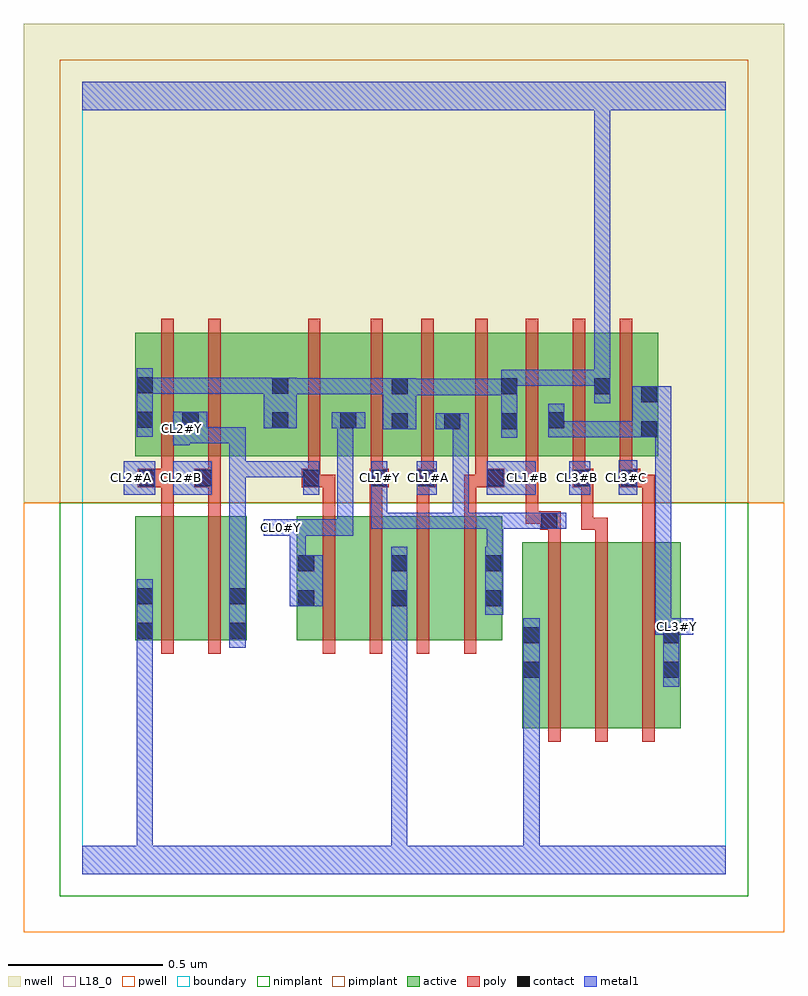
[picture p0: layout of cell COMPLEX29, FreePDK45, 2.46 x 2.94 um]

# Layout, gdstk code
import gdstk
lib = gdstk.Library(unit=1e-6, precision=1e-09)
def R(c, l, rs):  # rectangles x0, y0, x1, y1
    for r in rs: c.add(gdstk.rectangle(r[:2], r[2:], *l))
def A(c, l, x, y, w, h, nx, ny, dx, dy):  # array of equal rectangles
    R(c, l, [(x+i*dx, y+j*dy, x+i*dx+w, y+j*dy+h) for i in range(nx) for j in range(ny)])
active = (1, 0)
pwell = (2, 0)
nwell = (3, 0)
nimplant = (4, 0)
pimplant = (5, 0)
poly = (9, 0)
contact = (10, 0)
metal1 = (11, 0)
L18_0 = (18, 0)
boundary = (235, 0)

complex29 = lib.new_cell('COMPLEX29')
R(complex29, active, [(1.422,0.472,1.602,1.072), (1.602,0.472,1.754,1.072), (1.754,0.472,1.934,1.072), (1.874,0.472,1.934,1.072), (1.422,0.556,1.482,1.072), (0.172,0.756,0.232,1.156), (0.172,0.756,0.352,1.156), (0.352,0.756,0.532,1.156), (0.472,0.756,0.532,1.156), (0.694,0.756,0.754,1.156), (0.694,0.756,0.874,1.156), (0.874,0.756,1.054,1.156), (0.994,0.756,1.054,1.156), (0.994,0.756,1.178,1.156), (1.178,0.756,1.358,1.156), (1.298,0.756,1.358,1.156), (0.172,1.35,0.232,1.644), (0.172,1.35,0.38,1.75), (0.32,1.35,0.38,1.644), (0.32,1.35,0.67,1.75), (0.61,1.35,0.67,1.644), (0.61,1.35,0.89,1.75), (0.83,1.35,0.89,1.644), (0.83,1.35,1.056,1.75), (0.996,1.35,1.056,1.644), (0.996,1.35,1.226,1.75), (1.166,1.35,1.226,1.644), (1.166,1.35,1.41,1.75), (1.35,1.35,1.41,1.644), (1.35,1.35,1.562,1.75), (1.502,1.35,1.562,1.644), (1.502,1.35,1.71,1.75), (1.65,1.35,1.71,1.644), (1.65,1.35,1.862,1.75), (1.802,1.35,1.862,1.644)])
R(complex29, pwell, [(-0.188,-0.188,2.268,1.2)])
R(complex29, nwell, [(-0.188,1.2,2.268,2.748)])
R(complex29, nimplant, [(-0.072,-0.072,2.152,1.2)])
R(complex29, pimplant, [(-0.072,1.2,2.152,2.632)])
A(complex29, poly, 1.506, 0.428, 0.04, 0.688, 3, 1, 0.152, 0)
A(complex29, poly, 0.778, 0.712, 0.04, 0.488, 4, 1, 0.152, 0)
A(complex29, poly, 0.778, 1.16, 0.04, 0.13, 4, 1, 0.152, 0)
A(complex29, poly, 1.434, 1.306, 0.04, 0.488, 3, 1, 0.152, 0)
R(complex29, poly, [(0.256,0.712,0.296,1.2), (0.408,0.712,0.448,1.2), (1.506,1.076,1.546,1.152), (1.658,1.076,1.698,1.152), (1.81,1.076,1.85,1.29), (1.48,1.112,1.546,1.172), (1.612,1.112,1.698,1.152), (1.612,1.112,1.652,1.29), (1.434,1.132,1.474,1.346), (1.434,1.132,1.52,1.172), (1.48,1.132,1.52,1.172), (0.256,1.16,0.296,1.29), (0.408,1.16,0.448,1.29), (0.18,1.25,0.296,1.31), (0.362,1.25,0.448,1.31), (0.71,1.25,0.77,1.31), (0.73,1.25,0.77,1.29), (0.73,1.25,0.818,1.29), (0.93,1.25,0.99,1.31), (1.082,1.25,1.122,1.29), (1.082,1.25,1.122,1.29), (1.082,1.25,1.142,1.31), (1.234,1.25,1.31,1.29), (1.27,1.25,1.31,1.29), (1.27,1.25,1.364,1.31), (1.586,1.25,1.652,1.31), (1.738,1.25,1.804,1.31), (1.764,1.25,1.804,1.29), (1.764,1.25,1.85,1.29), (0.256,1.27,0.296,1.346), (0.256,1.27,0.296,1.31), (0.256,1.27,0.296,1.31), (0.408,1.27,0.448,1.346), (0.408,1.27,0.448,1.31), (0.408,1.27,0.448,1.31), (0.73,1.27,0.77,1.346), (0.932,1.27,0.972,1.346), (0.932,1.27,0.972,1.31), (0.932,1.27,0.972,1.31), (1.096,1.27,1.136,1.346), (1.27,1.27,1.31,1.346), (1.586,1.27,1.626,1.346), (1.738,1.27,1.778,1.346), (0.256,1.306,0.296,1.794), (0.408,1.306,0.448,1.794), (0.73,1.306,0.77,1.794), (0.932,1.306,0.972,1.794), (1.096,1.306,1.136,1.794), (1.27,1.306,1.31,1.794)])
R(complex29, contact, [(1.426,0.634,1.478,0.686), (1.878,0.634,1.93,0.686), (1.426,0.746,1.478,0.798), (1.878,0.746,1.93,0.798), (0.176,0.76,0.228,0.812), (0.476,0.76,0.528,0.812), (0.698,0.866,0.75,0.918), (0.998,0.866,1.05,0.918), (1.302,0.866,1.354,0.918), (0.176,0.872,0.228,0.924), (0.476,0.872,0.528,0.924), (0.698,0.978,0.75,1.03), (0.998,0.978,1.05,1.03), (1.302,0.978,1.354,1.03), (1.484,1.116,1.536,1.168), (0.184,1.254,0.236,1.306), (0.366,1.254,0.418,1.306), (0.714,1.254,0.766,1.306), (0.934,1.254,0.986,1.306), (1.086,1.254,1.138,1.306), (1.308,1.254,1.36,1.306), (1.59,1.254,1.642,1.306), (1.742,1.254,1.794,1.306), (1.806,1.412,1.858,1.464), (1,1.438,1.052,1.49), (1.17,1.438,1.222,1.49), (1.354,1.438,1.406,1.49), (0.614,1.44,0.666,1.492), (0.834,1.44,0.886,1.492), (1.506,1.44,1.558,1.492), (0.176,1.442,0.228,1.494), (0.324,1.442,0.376,1.494), (1.806,1.524,1.858,1.576), (1,1.55,1.052,1.602), (1.354,1.55,1.406,1.602), (1.654,1.55,1.706,1.602), (0.614,1.552,0.666,1.604), (0.176,1.554,0.228,1.606)])
R(complex29, metal1, [(0,0,2.08,0.092), (0.176,0.04,0.228,0.092), (0.176,0.04,0.228,0.092), (0.176,0.04,0.228,0.092), (0.176,0.04,0.228,0.092), (0.176,0.04,0.228,0.092), (0.176,0.04,0.228,0.092), (0.176,0.04,0.228,0.092), (0.176,0.04,0.228,0.092), (0.176,0.04,0.228,0.092), (0.176,0.04,0.228,0.092), (0.176,0.04,0.228,0.092), (0.176,0.04,0.228,0.092), (0.176,0.04,0.228,0.784), (0.998,0.04,1.05,0.092), (0.998,0.04,1.05,0.092), (0.998,0.04,1.05,0.092), (0.998,0.04,1.05,0.092), (0.998,0.04,1.05,0.89), (1.426,0.04,1.478,0.092), (1.426,0.04,1.478,0.092), (1.426,0.04,1.478,0.092), (1.426,0.04,1.478,0.092), (1.426,0.04,1.478,0.658), (1.426,0.606,1.478,0.658), (1.426,0.606,1.478,0.658), (1.426,0.606,1.478,0.658), (1.426,0.606,1.478,0.658), (1.426,0.606,1.478,0.826), (1.878,0.606,1.93,0.826), (0.176,0.732,0.228,0.952), (0.476,0.732,0.528,0.952), (1.852,0.774,1.904,1.464), (1.852,0.774,1.918,0.826), (1.866,0.774,1.918,0.826), (1.866,0.774,1.974,0.826), (1.878,0.774,1.93,0.826), (0.998,0.838,1.05,0.89), (0.998,0.838,1.05,0.89), (0.998,0.838,1.05,0.89), (0.998,0.838,1.05,0.89), (0.998,0.838,1.05,0.89), (0.998,0.838,1.05,0.89), (0.998,0.838,1.05,0.89), (0.998,0.838,1.05,0.89), (0.998,0.838,1.05,1.058), (1.302,0.838,1.36,1.058), (0.67,0.866,0.778,1.03), (0.476,0.9,0.528,0.952), (0.476,0.9,0.528,0.952), (0.476,0.9,0.528,1.334), (0.67,0.978,0.722,1.146), (1.308,1.006,1.36,1.168), (0.586,1.094,0.722,1.146), (0.67,1.094,0.722,1.146), (0.67,1.094,0.722,1.146), (0.67,1.094,0.876,1.146), (0.824,1.094,0.876,1.146), (0.824,1.094,0.876,1.146), (0.824,1.094,0.876,1.146), (0.824,1.094,0.876,1.492), (0.934,1.116,0.986,1.278), (0.934,1.116,1.186,1.168), (1.134,1.116,1.186,1.168), (1.134,1.116,1.25,1.168), (1.198,1.116,1.25,1.168), (1.198,1.116,1.25,1.168), (1.198,1.116,1.25,1.168), (1.198,1.116,1.296,1.168), (1.198,1.116,1.25,1.49), (1.244,1.116,1.296,1.168), (1.244,1.116,1.36,1.168), (1.308,1.116,1.36,1.168), (1.308,1.116,1.406,1.168), (1.354,1.116,1.406,1.168), (1.354,1.116,1.508,1.168), (1.456,1.116,1.564,1.168), (0.134,1.226,0.236,1.334), (0.294,1.226,0.418,1.334), (0.714,1.226,0.766,1.334), (0.934,1.226,0.986,1.278), (0.934,1.226,0.986,1.334), (1.082,1.226,1.146,1.334), (1.308,1.226,1.466,1.334), (1.574,1.226,1.642,1.334), (1.734,1.226,1.794,1.338), (0.476,1.282,0.638,1.334), (0.476,1.282,0.528,1.444), (0.586,1.282,0.638,1.334), (0.586,1.282,0.766,1.334), (0.294,1.386,0.348,1.494), (0.296,1.392,0.528,1.444), (0.476,1.392,0.528,1.444), (0.476,1.392,0.528,1.444), (1.354,1.41,1.406,1.63), (1.506,1.412,1.558,1.52), (1.506,1.412,1.58,1.464), (1.528,1.412,1.58,1.464), (1.528,1.412,1.72,1.464), (1.668,1.412,1.72,1.464), (1.668,1.412,1.83,1.464), (1.778,1.412,1.83,1.464), (1.778,1.412,1.83,1.464), (1.778,1.412,1.904,1.576), (0.176,1.414,0.228,1.634), (0.972,1.438,1.08,1.602), (1.142,1.438,1.25,1.49), (0.586,1.44,0.694,1.604), (0.806,1.44,0.914,1.492), (0.296,1.442,0.348,1.494), (0.296,1.442,0.404,1.494), (1.654,1.522,1.706,1.63), (1.028,1.548,1.186,1.6), (1.134,1.548,1.186,1.6), (1.134,1.548,1.19,1.6), (1.138,1.548,1.19,1.6), (1.138,1.548,1.296,1.6), (1.244,1.548,1.296,1.6), (1.244,1.548,1.36,1.6), (1.308,1.548,1.36,1.6), (1.308,1.548,1.406,1.6), (0.642,1.55,0.876,1.602), (0.824,1.55,0.876,1.602), (0.824,1.55,0.876,1.602), (0.824,1.55,0.876,1.602), (0.824,1.55,1.024,1.602), (0.972,1.55,1.024,1.602), (0.972,1.55,1.024,1.602), (0.176,1.552,0.228,1.604), (0.176,1.552,0.228,1.604), (0.176,1.552,0.418,1.604), (0.366,1.552,0.418,1.604), (0.366,1.552,0.528,1.604), (0.476,1.552,0.528,1.604), (0.476,1.552,0.528,1.604), (0.476,1.552,0.528,1.604), (0.476,1.552,0.638,1.604), (1.354,1.578,1.47,1.63), (1.418,1.578,1.47,1.63), (1.418,1.578,1.596,1.63), (1.544,1.578,1.596,1.63), (1.544,1.578,1.596,1.63), (1.544,1.578,1.596,1.63), (1.544,1.578,1.706,1.63), (1.654,1.578,1.706,1.63), (1.654,1.578,1.706,1.63), (1.654,1.578,1.706,1.63), (1.654,1.578,1.706,1.63), (1.654,1.578,1.706,1.63), (1.654,1.578,1.706,1.63), (1.654,1.578,1.706,1.63), (1.654,1.578,1.706,1.63), (1.654,1.578,1.706,1.63), (1.654,1.578,1.706,1.63), (1.654,1.578,1.706,1.63), (1.654,1.578,1.706,1.63), (1.654,1.578,1.706,1.63), (1.654,1.578,1.706,1.63), (1.654,1.578,1.706,2.52), (0,2.468,2.08,2.56), (1.654,2.468,1.706,2.52), (1.654,2.468,1.706,2.52)])
A(complex29, L18_0, 1.414, 1.254, 0.052, 0.052, 3, 1, 0.16, 0)
R(complex29, L18_0, [(0,0,2.08,0.092), (0.176,0.04,0.228,0.092), (0.176,0.04,0.228,0.092), (0.176,0.04,0.228,0.092), (0.176,0.04,0.228,0.092), (0.176,0.04,0.228,0.092), (0.176,0.04,0.228,0.092), (0.176,0.04,0.228,0.092), (0.176,0.04,0.228,0.092), (0.176,0.04,0.228,0.092), (0.176,0.04,0.228,0.092), (0.176,0.04,0.228,0.092), (0.176,0.04,0.228,0.092), (0.176,0.04,0.228,0.784), (0.998,0.04,1.05,0.092), (0.998,0.04,1.05,0.092), (0.998,0.04,1.05,0.092), (0.998,0.04,1.05,0.092), (0.998,0.04,1.05,0.89), (1.426,0.04,1.478,0.092), (1.426,0.04,1.478,0.092), (1.426,0.04,1.478,0.092), (1.426,0.04,1.478,0.092), (1.426,0.04,1.478,0.658), (1.426,0.606,1.478,0.658), (1.426,0.606,1.478,0.658), (1.426,0.606,1.478,0.658), (1.426,0.606,1.478,0.658), (1.426,0.606,1.478,0.826), (1.878,0.606,1.93,0.826), (0.176,0.732,0.228,0.952), (0.476,0.732,0.528,0.952), (1.852,0.774,1.918,0.826), (1.852,0.774,1.904,1.464), (1.866,0.774,1.918,0.826), (1.866,0.774,1.974,0.826), (1.878,0.774,1.93,0.826), (1.894,0.774,1.946,0.826), (0.998,0.838,1.05,0.89), (0.998,0.838,1.05,0.89), (0.998,0.838,1.05,0.89), (0.998,0.838,1.05,0.89), (0.998,0.838,1.05,0.89), (0.998,0.838,1.05,0.89), (0.998,0.838,1.05,0.89), (0.998,0.838,1.05,0.89), (0.998,0.838,1.05,1.058), (1.302,0.838,1.36,1.058), (0.67,0.866,0.778,1.03), (0.476,0.9,0.528,0.952), (0.476,0.9,0.528,0.952), (0.476,0.9,0.528,1.334), (0.67,0.978,0.722,1.146), (1.308,1.006,1.36,1.168), (0.586,1.094,0.722,1.146), (0.614,1.094,0.666,1.146), (0.67,1.094,0.722,1.146), (0.67,1.094,0.722,1.146), (0.67,1.094,0.876,1.146), (0.824,1.094,0.876,1.146), (0.824,1.094,0.876,1.146), (0.824,1.094,0.876,1.146), (0.824,1.094,0.876,1.492), (0.934,1.116,0.986,1.278), (0.934,1.116,1.186,1.168), (1.134,1.116,1.186,1.168), (1.134,1.116,1.25,1.168), (1.198,1.116,1.25,1.168), (1.198,1.116,1.25,1.168), (1.198,1.116,1.25,1.168), (1.198,1.116,1.25,1.49), (1.198,1.116,1.296,1.168), (1.244,1.116,1.296,1.168), (1.244,1.116,1.36,1.168), (1.308,1.116,1.36,1.168), (1.308,1.116,1.406,1.168), (1.354,1.116,1.406,1.168), (1.354,1.116,1.508,1.168), (1.456,1.116,1.564,1.168), (0.134,1.226,0.236,1.334), (0.294,1.226,0.418,1.334), (0.714,1.226,0.766,1.334), (0.934,1.226,0.986,1.278), (0.934,1.226,0.986,1.334), (1.082,1.226,1.146,1.334), (1.308,1.226,1.466,1.334), (1.574,1.226,1.642,1.334), (1.734,1.226,1.794,1.338), (0.134,1.254,0.186,1.306), (0.294,1.254,0.346,1.306), (0.934,1.254,0.986,1.306), (1.094,1.254,1.146,1.306), (0.476,1.282,0.638,1.334), (0.476,1.282,0.528,1.444), (0.586,1.282,0.638,1.334), (0.586,1.282,0.766,1.334), (0.294,1.386,0.348,1.494), (0.296,1.392,0.528,1.444), (0.476,1.392,0.528,1.444), (0.476,1.392,0.528,1.444), (1.354,1.41,1.406,1.63), (1.506,1.412,1.558,1.52), (1.506,1.412,1.58,1.464), (1.528,1.412,1.58,1.464), (1.528,1.412,1.72,1.464), (1.668,1.412,1.72,1.464), (1.668,1.412,1.83,1.464), (1.778,1.412,1.83,1.464), (1.778,1.412,1.83,1.464), (1.778,1.412,1.904,1.576), (0.176,1.414,0.228,1.634), (0.294,1.414,0.346,1.466), (0.972,1.438,1.08,1.602), (1.142,1.438,1.25,1.49), (0.586,1.44,0.694,1.604), (0.806,1.44,0.914,1.492), (0.296,1.442,0.348,1.494), (0.296,1.442,0.404,1.494), (1.654,1.522,1.706,1.63), (1.028,1.548,1.186,1.6), (1.134,1.548,1.186,1.6), (1.134,1.548,1.19,1.6), (1.138,1.548,1.19,1.6), (1.138,1.548,1.296,1.6), (1.244,1.548,1.296,1.6), (1.244,1.548,1.36,1.6), (1.308,1.548,1.36,1.6), (1.308,1.548,1.406,1.6), (0.642,1.55,0.876,1.602), (0.824,1.55,0.876,1.602), (0.824,1.55,0.876,1.602), (0.824,1.55,0.876,1.602), (0.824,1.55,1.024,1.602), (0.972,1.55,1.024,1.602), (0.972,1.55,1.024,1.602), (0.176,1.552,0.228,1.604), (0.176,1.552,0.228,1.604), (0.176,1.552,0.418,1.604), (0.366,1.552,0.418,1.604), (0.366,1.552,0.528,1.604), (0.476,1.552,0.528,1.604), (0.476,1.552,0.528,1.604), (0.476,1.552,0.528,1.604), (0.476,1.552,0.638,1.604), (1.354,1.578,1.47,1.63), (1.418,1.578,1.47,1.63), (1.418,1.578,1.596,1.63), (1.544,1.578,1.596,1.63), (1.544,1.578,1.596,1.63), (1.544,1.578,1.596,1.63), (1.544,1.578,1.706,1.63), (1.654,1.578,1.706,1.63), (1.654,1.578,1.706,1.63), (1.654,1.578,1.706,1.63), (1.654,1.578,1.706,1.63), (1.654,1.578,1.706,1.63), (1.654,1.578,1.706,1.63), (1.654,1.578,1.706,1.63), (1.654,1.578,1.706,1.63), (1.654,1.578,1.706,1.63), (1.654,1.578,1.706,1.63), (1.654,1.578,1.706,1.63), (1.654,1.578,1.706,1.63), (1.654,1.578,1.706,1.63), (1.654,1.578,1.706,1.63), (1.654,1.578,1.706,2.52), (0,2.468,2.08,2.56), (1.654,2.468,1.706,2.52), (1.654,2.468,1.706,2.52)])
R(complex29, boundary, [(0,0,2.08,2.56)])
complex29.add(gdstk.Label('CL0#Y', (0.64,1.12), layer=11, texttype=0))
complex29.add(gdstk.Label('CL1#A', (1.12,1.28), layer=11, texttype=0))
complex29.add(gdstk.Label('CL1#B', (1.44,1.28), layer=11, texttype=0))
complex29.add(gdstk.Label('CL1#Y', (0.96,1.28), layer=11, texttype=0))
complex29.add(gdstk.Label('CL2#A', (0.16,1.28), layer=11, texttype=0))
complex29.add(gdstk.Label('CL2#B', (0.32,1.28), layer=11, texttype=0))
complex29.add(gdstk.Label('CL2#Y', (0.32,1.44), layer=11, texttype=0))
complex29.add(gdstk.Label('CL3#B', (1.6,1.28), layer=11, texttype=0))
complex29.add(gdstk.Label('CL3#C', (1.76,1.28), layer=11, texttype=0))
complex29.add(gdstk.Label('CL3#Y', (1.92,0.8), layer=11, texttype=0))

lib.write_gds('COMPLEX29.gds')
